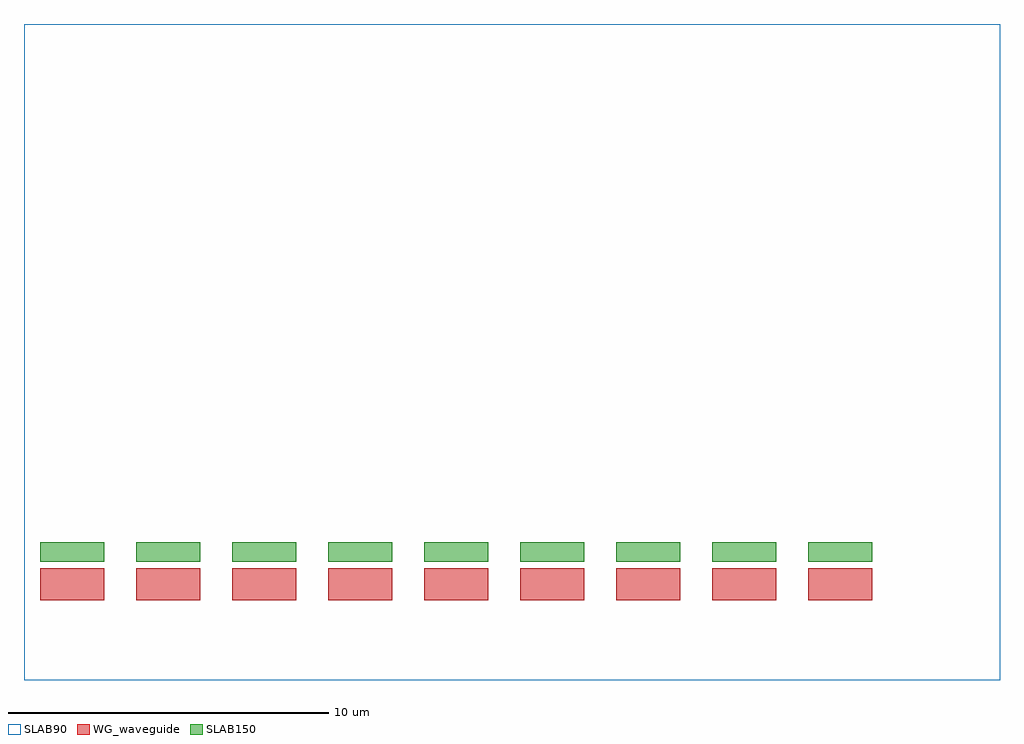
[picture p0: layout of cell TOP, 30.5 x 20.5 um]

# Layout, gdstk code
import gdstk
lib = gdstk.Library(unit=1e-6, precision=1e-09)
def R(c, l, rs):  # rectangles x0, y0, x1, y1
    for r in rs: c.add(gdstk.rectangle(r[:2], r[2:], *l))
WG_waveguide = (1, 0)
SLAB150 = (2, 0)
SLAB90 = (3, 0)

child = lib.new_cell('CHILD')
R(child, WG_waveguide, [(0,0,2,1)])
R(child, SLAB150, [(0,1.2,2,1.8)])

top = lib.new_cell('TOP')
R(top, SLAB90, [(-0.5,-0.5,30,20)])
top.add(gdstk.Reference(child, (0,2)))
top.add(gdstk.Reference(child, (3,2)))
top.add(gdstk.Reference(child, (6,2)))
top.add(gdstk.Reference(child, (9,2)))
top.add(gdstk.Reference(child, (12,2)))
top.add(gdstk.Reference(child, (15,2)))
top.add(gdstk.Reference(child, (18,2)))
top.add(gdstk.Reference(child, (21,2)))
top.add(gdstk.Reference(child, (24,2)))

lib.write_gds('TOP.gds')
